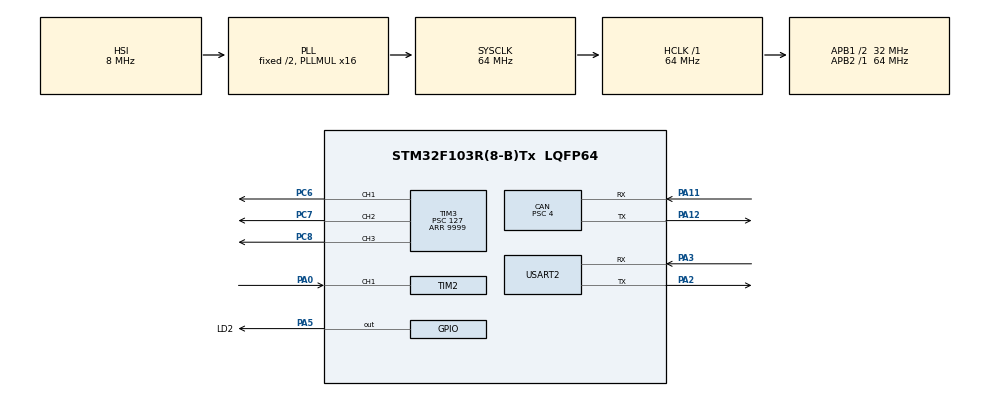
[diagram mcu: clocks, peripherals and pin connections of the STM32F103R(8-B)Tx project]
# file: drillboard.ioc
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CAN.BS1=CAN_BS1_13TQ
CAN.BS2=CAN_BS2_2TQ
CAN.CalculateBaudRate=500000
CAN.CalculateTimeBit=2000
CAN.CalculateTimeQuantum=125.0
CAN.NART=ENABLE
CAN.Prescaler=4
Mcu.Family=STM32F1
Mcu.Name=STM32F103R(8-B)Tx
Mcu.Package=LQFP64
NVIC.CAN1_RX1_IRQn=true\:0\:0\:false\:false\:true\:true\:true\:true
NVIC.CAN1_SCE_IRQn=true\:0\:0\:false\:false\:true\:true\:true\:true
NVIC.PriorityGroup=NVIC_PRIORITYGROUP_4
NVIC.TIM2_IRQn=true\:5\:0\:true\:false\:true\:true\:true\:true
NVIC.TIM3_IRQn=true\:0\:0\:false\:false\:true\:true\:true\:true
NVIC.USB_HP_CAN1_TX_IRQn=true\:0\:0\:false\:false\:true\:true\:true\:true
NVIC.USB_LP_CAN1_RX0_IRQn=true\:0\:0\:false\:false\:true\:true\:true\:true
PA0-WKUP.Signal=S_TIM2_CH1_ETR
PA11.GPIO_PuPd=GPIO_PULLUP
PA11.Mode=CAN_Activate
PA11.Signal=CAN_RX
PA12.GPIO_Speed=GPIO_SPEED_FREQ_HIGH
PA12.Mode=CAN_Activate
PA12.Signal=CAN_TX
PA13.Mode=Serial_Wire
PA13.Signal=SYS_JTMS-SWDIO
PA14.Mode=Serial_Wire
PA14.Signal=SYS_JTCK-SWCLK
PA2.Mode=Asynchronous
PA2.Signal=USART2_TX
PA3.Mode=Asynchronous
PA3.Signal=USART2_RX
PA5.GPIO_Label=LD2
PA5.Signal=GPIO_Output
PC6.Signal=S_TIM3_CH1
PC7.Signal=S_TIM3_CH2
PC8.Signal=S_TIM3_CH3
ProjectManager.HeapSize=0x200
ProjectManager.StackSize=0x400
ProjectManager.TargetToolchain=STM32CubeIDE
RCC.AHBFreq_Value=64000000
RCC.APB1CLKDivider=RCC_HCLK_DIV2
RCC.APB1Freq_Value=32000000
RCC.APB1TimFreq_Value=64000000
RCC.APB2Freq_Value=64000000
RCC.APB2TimFreq_Value=64000000
RCC.HCLKFreq_Value=64000000
RCC.PLLMUL=RCC_PLL_MUL16
RCC.SYSCLKFreq_VALUE=64000000
RCC.SYSCLKSource=RCC_SYSCLKSOURCE_PLLCLK
RCC.USBFreq_Value=64000000
SH.S_TIM2_CH1_ETR.0=TIM2_CH1,TriggerSource_TI1ED
SH.S_TIM2_CH1_ETR.1=TIM2_CH1,Input_Capture1_from_TI1
SH.S_TIM3_CH1.0=TIM3_CH1,PWM Generation1 CH1
SH.S_TIM3_CH2.0=TIM3_CH2,PWM Generation2 CH2
SH.S_TIM3_CH3.0=TIM3_CH3,PWM Generation3 CH3
TIM2.Channel-Input_Capture1_from_TI1=TIM_CHANNEL_1
TIM2.ICFilter_CH1=15
TIM2.Prescaler=3199
TIM3.Channel-PWM\ Generation1\ CH1=TIM_CHANNEL_1
TIM3.Channel-PWM\ Generation2\ CH2=TIM_CHANNEL_2
TIM3.Channel-PWM\ Generation3\ CH3=TIM_CHANNEL_3
TIM3.OCFastMode_PWM-PWM\ Generation3\ CH3=TIM_OCFAST_ENABLE
TIM3.Period=9999
TIM3.Prescaler=127
TIM3.Pulse-PWM\ Generation3\ CH3=20000
USART2.VirtualMode=VM_ASYNC
VP_TIM2_VS_ClockSourceINT.Mode=Internal
VP_TIM2_VS_ControllerModeReset.Mode=Reset Mode
VP_TIM3_VS_ClockSourceINT.Mode=Internal
board=custom

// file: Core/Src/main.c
/* USER CODE BEGIN Header */
/**
  ******************************************************************************
  * @file           : main.c
  * @brief          : Main program body
  ******************************************************************************
  * @attention
  *
  * Copyright (c) 2025 STMicroelectronics.
  * All rights reserved.
  *
  * This software is licensed under terms that can be found in the LICENSE file
  * in the root directory of this software component.
  * If no LICENSE file comes with this software, it is provided AS-IS.
  *
  ******************************************************************************
  */
/* USER CODE END Header */
#include "main.h"
#include "can.h"
#include "tim.h"
#include "usart.h"
#include "gpio.h"

/* USER CODE BEGIN Includes */
#include <stdio.h>
/* USER CODE END Includes */

/* USER CODE BEGIN PD */
int32_t PWM = 750;
volatile uint32_t captured_value;
/* USER CODE END PD */

void SystemClock_Config(void);

/* USER CODE BEGIN 0 */
CAN_TxHeaderTypeDef   TxHeader={
		.IDE=CAN_ID_STD,
		.StdId=0x446,
		.RTR=CAN_RTR_DATA,
		.DLC=2};

uint32_t              TxMailbox;
CAN_RxHeaderTypeDef   RxHeader;
uint8_t               RxData[8];
void HAL_CAN_RxFifo0MsgPendingCallback(CAN_HandleTypeDef *hcan);
void HAL_TIM_IC_CaptureCallback(TIM_HandleTypeDef *htim)
{
  if (htim == &htim2) {
    switch (HAL_TIM_GetActiveChannel(&htim2)) {
      case HAL_TIM_ACTIVE_CHANNEL_1:
        captured_value = HAL_TIM_ReadCapturedValue(htim, TIM_CHANNEL_1);
      break;
      default:
        break;
    }
  }
}
int __io_putchar(int ch)
{
  HAL_UART_Transmit(&huart2, (uint8_t*)&ch, 1, HAL_MAX_DELAY);
  return 1;
}
/* USER CODE END 0 */

int main(void)
{

  /* MCU Configuration--------------------------------------------------------*/

  /* Reset of all peripherals, Initializes the Flash interface and the Systick. */
  HAL_Init();

  /* Configure the system clock */
  SystemClock_Config();

  /* Initialize all configured peripherals */
  MX_GPIO_Init();
  MX_CAN_Init();
  MX_TIM3_Init();
  MX_TIM2_Init();
  MX_USART2_UART_Init();
  /* USER CODE BEGIN 2 */
HAL_TIM_PWM_Start_IT(&htim3, TIM_CHANNEL_3);
  HAL_TIM_PWM_Start_IT(&htim3, TIM_CHANNEL_2);
  HAL_TIM_PWM_Start_IT(&htim3, TIM_CHANNEL_1);
  HAL_TIM_Base_Start(&htim2); //encoder timer
  HAL_TIM_IC_Start_IT(&htim2, TIM_CHANNEL_1);
  /* USER CODE END 2 */

  /* Infinite loop */
  /* USER CODE BEGIN WHILE */

  while (1)
  {
    setPWM(PWM,TIM_CHANNEL_2);
    //printf("hello world\n\r");
    if (captured_value != 0) {
      printf("value = %lu\n\r", captured_value);
      captured_value = 0;
    }
    /* USER CODE END WHILE */

  }
}

void SystemClock_Config(void)
{
  RCC_OscInitTypeDef RCC_OscInitStruct = {0};
  RCC_ClkInitTypeDef RCC_ClkInitStruct = {0};

  /** Initializes the RCC Oscillators according to the specified parameters
  * in the RCC_OscInitTypeDef structure.
  */
  RCC_OscInitStruct.OscillatorType = RCC_OSCILLATORTYPE_HSI;
  RCC_OscInitStruct.HSIState = RCC_HSI_ON;
  RCC_OscInitStruct.HSICalibrationValue = RCC_HSICALIBRATION_DEFAULT;
  RCC_OscInitStruct.PLL.PLLState = RCC_PLL_ON;
  RCC_OscInitStruct.PLL.PLLSource = RCC_PLLSOURCE_HSI_DIV2;
  RCC_OscInitStruct.PLL.PLLMUL = RCC_PLL_MUL16;
  if (HAL_RCC_OscConfig(&RCC_OscInitStruct) != HAL_OK)
  {
    Error_Handler();
  }

  /** Initializes the CPU, AHB and APB buses clocks
  */
  RCC_ClkInitStruct.ClockType = RCC_CLOCKTYPE_HCLK|RCC_CLOCKTYPE_SYSCLK
                              |RCC_CLOCKTYPE_PCLK1|RCC_CLOCKTYPE_PCLK2;
  RCC_ClkInitStruct.SYSCLKSource = RCC_SYSCLKSOURCE_PLLCLK;
  RCC_ClkInitStruct.AHBCLKDivider = RCC_SYSCLK_DIV1;
  RCC_ClkInitStruct.APB1CLKDivider = RCC_HCLK_DIV2;
  RCC_ClkInitStruct.APB2CLKDivider = RCC_HCLK_DIV1;

  if (HAL_RCC_ClockConfig(&RCC_ClkInitStruct, FLASH_LATENCY_2) != HAL_OK)
  {
    Error_Handler();
  }
}

/* USER CODE BEGIN 4 */
void HAL_CAN_RxFifo0MsgPendingCallback(CAN_HandleTypeDef *hcan)
{

	HAL_GPIO_TogglePin(LD2_GPIO_Port, LD2_Pin);
}
/* USER CODE END 4 */

void Error_Handler(void)
{
  __disable_irq();
  while (1)
  {
  }
}
